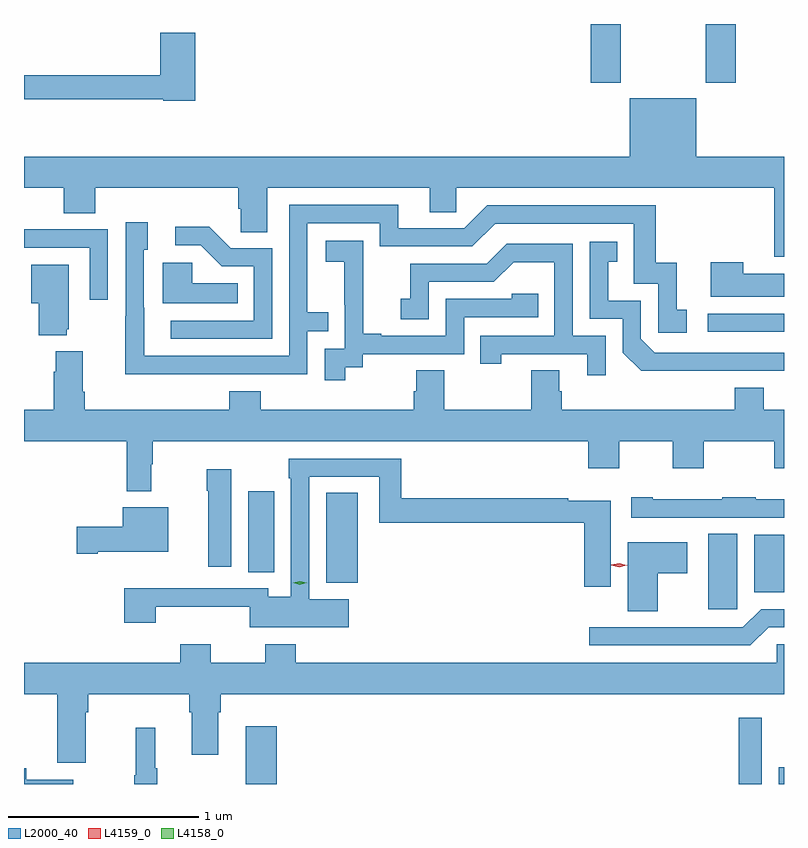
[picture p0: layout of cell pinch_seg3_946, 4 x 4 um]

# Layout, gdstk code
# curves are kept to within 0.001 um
import gdstk
lib = gdstk.Library(unit=1e-6, precision=1e-09)
def R(c, l, rs):  # rectangles x0, y0, x1, y1
    for r in rs: c.add(gdstk.rectangle(r[:2], r[2:], *l))
def P(c, l, *ps):  # polygons
    for p in ps: c.add(gdstk.Polygon(p, *l))
L2000_40 = (2000, 40)
L4158_0 = (4158, 0)
L4159_0 = (4159, 0)

pinch_seg3_946 = lib.new_cell('pinch_seg3_946')
R(pinch_seg3_946, L2000_40, [(419.306,723.087,419.47,723.391), (421.902,723.087,422.023,723.436), (422.111,723.087,422.139,723.175), (421.739,724.007,421.894,724.403), (421.982,724.097,422.139,724.399), (419.729,724.145,419.896,724.619), (419.318,724.201,419.455,724.627), (421.737,725.466,422.139,725.562), (421.121,726.777,421.281,727.087), (421.726,726.777,421.886,727.087)])
P(pinch_seg3_946, L2000_40, [(419.039,727.042),(418.856,727.042),(418.856,726.818),(418.139,726.818),(418.139,726.69),(418.872,726.69),(418.872,726.682),(419.039,726.682)],
  [(418.139,726.224),(418.349,726.224),(418.349,726.091),(418.514,726.091),(418.514,726.224),(419.267,726.224),(419.267,726.115),(419.28,726.115),(419.28,725.992),(419.419,725.992),(419.419,726.224),(420.275,726.224),(420.275,726.097),(420.414,726.097),(420.414,726.224),(422.087,726.224),(422.087,725.862),(422.139,725.862),(422.139,726.388),(421.678,726.388),(421.678,726.697),(421.328,726.697),(421.328,726.388),(418.139,726.388)],
  [(419.135,725.244),(419.631,725.244),(419.631,725.469),(419.741,725.469),(419.741,725.57),(419.631,725.57),(419.631,726.039),(420.012,726.039),(420.012,725.916),(420.498,725.916),(420.618,726.036),(421.347,726.036),(421.347,725.721),(421.476,725.721),(421.476,725.463),(421.627,725.463),(421.627,725.583),(421.574,725.583),(421.574,725.83),(421.463,725.83),(421.463,726.132),(420.576,726.132),(420.456,726.012),(420.109,726.012),(420.109,726.135),(419.535,726.135),(419.535,725.34),(418.771,725.34),(418.77,725.898),(418.789,725.898),(418.789,726.043),(418.674,726.043),(418.674,725.549),(418.672,725.549),(418.672,725.243)],
  [(419.445,725.907),(419.226,725.907),(419.113,726.02),(418.935,726.02),(418.935,725.922),(419.069,725.922),(419.18,725.811),(419.349,725.811),(419.349,725.526),(418.911,725.526),(418.911,725.43),(419.445,725.43)],
  [(418.581,726.006),(418.265,726.006),(418.265,726.008),(418.139,726.008),(418.139,725.91),(418.485,725.91),(418.485,725.637),(418.581,725.637)],
  [(419.83,725.281),(419.922,725.281),(419.922,725.349),(420.456,725.349),(420.456,725.544),(420.845,725.544),(420.845,725.667),(420.705,725.667),(420.705,725.64),(420.36,725.64),(420.36,725.445),(420.019,725.445),(420.019,725.458),(419.924,725.458),(419.924,725.741),(419.925,725.741),(419.925,725.947),(419.727,725.947),(419.727,725.837),(419.825,725.837),(419.825,725.609),(419.826,725.609),(419.826,725.379),(419.721,725.379),(419.721,725.211),(419.83,725.211)],
  [(421.796,725.262),(422.139,725.262),(422.139,725.358),(421.458,725.358),(421.386,725.43),(421.386,725.631),(421.213,725.631),(421.213,725.835),(421.262,725.835),(421.262,725.941),(421.116,725.941),(421.116,725.535),(421.29,725.535),(421.29,725.358),(421.388,725.261)],
  [(421.2,725.445),(421.026,725.445),(421.026,725.931),(420.68,725.931),(420.575,725.826),(420.172,725.826),(420.172,725.641),(420.123,725.641),(420.123,725.532),(420.27,725.532),(420.27,725.73),(420.612,725.73),(420.716,725.834),(420.93,725.834),(420.93,725.445),(420.541,725.445),(420.541,725.298),(420.652,725.298),(420.652,725.349),(421.103,725.349),(421.103,725.238),(421.2,725.238)],
  [(422.139,725.773),(421.925,725.773),(421.925,725.833),(421.754,725.833),(421.754,725.651),(422.139,725.651)],
  [(419.264,725.722),(419.025,725.722),(419.025,725.83),(418.868,725.83),(418.868,725.618),(419.264,725.618)],
  [(418.364,725.481),(418.375,725.481),(418.375,725.821),(418.178,725.821),(418.178,725.618),(418.217,725.618),(418.217,725.45),(418.364,725.45)],
  [(418.81,724.769),(418.817,724.769),(418.817,724.892),(421.109,724.892),(421.109,724.749),(421.273,724.749),(421.273,724.892),(421.553,724.892),(421.553,724.749),(421.717,724.749),(421.717,724.892),(422.087,724.892),(422.087,724.749),(422.139,724.749),(422.139,725.056),(422.032,725.056),(422.032,725.173),(421.88,725.173),(421.88,725.056),(420.968,725.056),(420.968,725.154),(420.955,725.154),(420.955,725.264),(420.808,725.264),(420.808,725.056),(420.351,725.056),(420.351,725.264),(420.203,725.264),(420.203,725.154),(420.191,725.154),(420.191,725.056),(419.384,725.056),(419.384,725.155),(419.219,725.155),(419.219,725.056),(418.46,725.056),(418.46,725.152),(418.447,725.152),(418.447,725.365),(418.307,725.365),(418.307,725.258),(418.295,725.258),(418.295,725.056),(418.139,725.056),(418.139,724.892),(418.681,724.892),(418.681,724.629),(418.81,724.629)],
  [(419.848,724.06),(419.64,724.06),(419.64,724.704),(420.009,724.704),(420.009,724.462),(421.088,724.462),(421.088,724.125),(421.228,724.125),(421.228,724.579),(421.004,724.579),(421.004,724.591),(420.125,724.591),(420.125,724.8),(419.532,724.8),(419.532,724.697),(419.544,724.697),(419.544,724.072),(419.424,724.072),(419.424,724.116),(418.915,724.116),(418.915,724.118),(418.667,724.118),(418.667,723.936),(418.832,723.936),(418.832,724.019),(419.328,724.019),(419.328,723.911),(419.848,723.911)],
  [(419.23,724.744),(419.101,724.744),(419.101,724.631),(419.108,724.631),(419.108,724.23),(419.23,724.23)],
  [(422.139,724.585),(421.991,724.585),(421.991,724.597),(421.813,724.597),(421.813,724.585),(421.447,724.585),(421.447,724.597),(421.335,724.597),(421.335,724.488),(422.139,724.488)],
  [(418.528,724.31),(418.897,724.31),(418.897,724.543),(418.658,724.543),(418.658,724.44),(418.416,724.44),(418.416,724.298),(418.528,724.298)],
  [(421.474,724.196),(421.63,724.196),(421.63,724.36),(421.316,724.36),(421.316,723.997),(421.474,723.997)],
  [(422.058,723.912),(422.139,723.912),(422.139,724.008),(422.019,724.008),(421.923,723.912),(421.113,723.912),(421.113,723.816),(421.962,723.816)],
  [(418.465,723.464),(418.478,723.464),(418.478,723.56),(419.009,723.56),(419.009,723.464),(419.021,723.464),(419.021,723.24),(419.161,723.24),(419.161,723.464),(419.174,723.464),(419.174,723.56),(422.139,723.56),(422.139,723.822),(422.1,723.822),(422.1,723.724),(419.57,723.724),(419.57,723.823),(419.41,723.823),(419.41,723.724),(419.121,723.724),(419.121,723.823),(418.961,723.823),(418.961,723.724),(418.139,723.724),(418.139,723.56),(418.313,723.56),(418.313,723.198),(418.465,723.198)],
  [(418.84,723.169),(418.829,723.169),(418.829,723.382),(418.726,723.382),(418.726,723.132),(418.719,723.132),(418.719,723.087),(418.84,723.087)],
  [(418.399,723.109),(418.151,723.109),(418.151,723.169),(418.139,723.169),(418.139,723.087),(418.399,723.087)])
P(pinch_seg3_946, L4158_0, [(419.591,724.135),(419.556,724.145),(419.556,724.145),(419.556,724.146),(419.591,724.155),(419.626,724.146),(419.626,724.145),(419.626,724.145)])
P(pinch_seg3_946, L4159_0, [(421.271,724.229),(421.23,724.239),(421.23,724.24),(421.23,724.24),(421.272,724.249),(421.312,724.238),(421.313,724.238),(421.312,724.238)])

lib.write_gds('pinch_seg3_946.gds')
